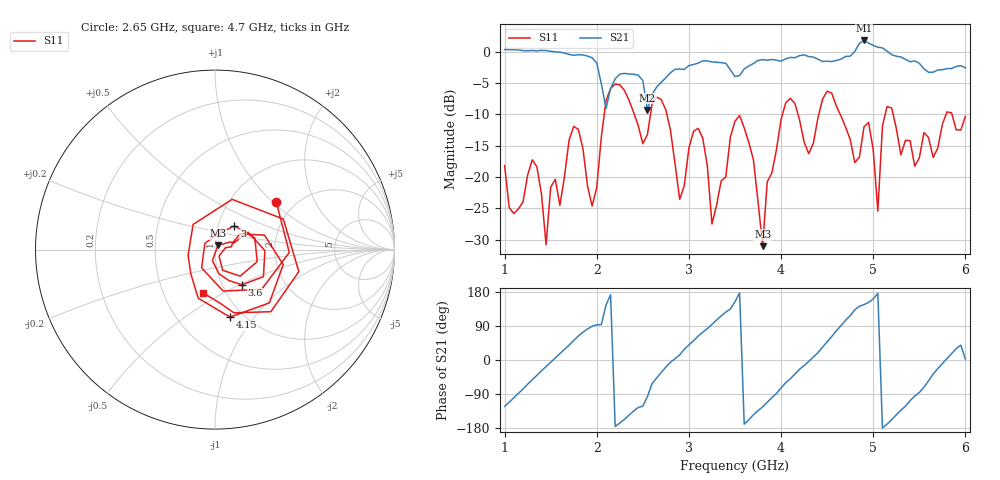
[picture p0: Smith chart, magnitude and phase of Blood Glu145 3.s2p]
! NanoVNA-App
! Date: 2024-03-21 15:20:01
! Start: 1GHz Stop: 6GHz Points: 101
! S-Parameter data: F S11 S21 S12 S22
# Hz S RI R 50
!	Frequency	S11_Real	S11_Imag	S21_Real	S21_Imag	S12_Real	S12_Imag	S22_Real	S22_Imag
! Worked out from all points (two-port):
!   101 points, 1 GHz to 6 GHz, reference 50 ohm
!   highest |S21| = 1.77 dB at 4.9 GHz (marker M1); lowest = -9.3 dB at 2.55 GHz (marker M2)
!   |S21| within 3 dB of the highest: start of sweep to 1.964 GHz; 4.648 GHz to 5.346 GHz (698.4 MHz wide, 14 % of centre)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
!   lowest |S11| = -31.0 dB at 3.8 GHz (marker M3), VSWR 1.06, Z = 51.6 + j2.38 ohm
!   |S11| at or under -10 dB: start of sweep to 2.081 GHz; 2.76 GHz to 4.016 GHz (1.255 GHz wide, 37.1 % of centre); 5.215 GHz to 5.791 GHz (575.2 MHz wide, 10.5 % of centre)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
!   S12 and S22 are empty: the file has one direction only
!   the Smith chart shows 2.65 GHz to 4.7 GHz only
!   S11 on the Smith chart (normalised r, x): 2.65 GHz: 1.61, +1.06; 3 GHz: 1.19, +0.32; 3.6 GHz: 1.23, -0.51; 4.15 GHz: 0.87, -0.77; 4.7 GHz: 0.79, -0.40
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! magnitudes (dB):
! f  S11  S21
! 1 GHz  -18.2  0.3
! 1.35 GHz  -18.4  0.1
! 1.45 GHz  -30.8  0.2
! 1.85 GHz  -15.5  -0.5
! 1.95 GHz  -24.7  -1.0
! 2.15 GHz  -5.9  -5.9
! 2.55 GHz  -13.2  -9.3
! 2.65 GHz  -7.3  -5.7
! 2.7 GHz  -7.7  -4.9
! 2.9 GHz  -23.6  -2.8
! 3 GHz  -15.4  -2.2
! 3.25 GHz  -27.5  -1.6
! 3.5 GHz  -11.1  -4.0
! 3.6 GHz  -12.2  -2.8
! 3.8 GHz  -31.0  -1.3
! 4.15 GHz  -8.3  -1.0
! 4.35 GHz  -14.6  -0.9
! 4.7 GHz  -12.0  -0.8
! 4.9 GHz  -12.0  1.8
! 5.05 GHz  -25.5  0.7
! 5.2 GHz  -9.0  -0.5
! 6 GHz  -10.4  -2.6
